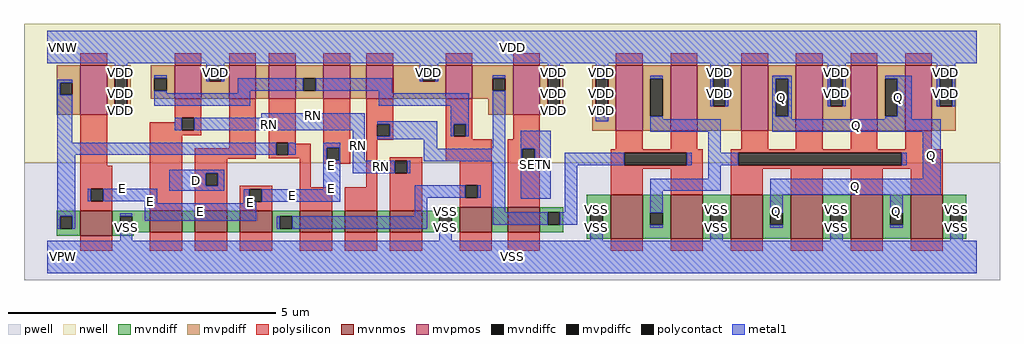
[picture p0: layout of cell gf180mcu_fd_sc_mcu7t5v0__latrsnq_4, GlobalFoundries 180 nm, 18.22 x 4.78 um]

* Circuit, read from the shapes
.subckt gf180mcu_fd_sc_mcu7t5v0__latrsnq_4 D E RN SETN Q VDD VNW VPW VSS
XM1 VSS E n1 VPW nfet_06v0 w=0.465u l=0.6u
XM2 n2 RN VSS VPW nfet_06v0 w=0.395u l=0.6u
XM3 n3 D n2 VPW nfet_06v0 w=0.395u l=0.6u
XM4 n4 E n3 VPW nfet_06v0 w=0.395u l=0.6u
XM5 n5 n1 n4 VPW nfet_06v0 w=0.395u l=0.6u
XM6 n6 n7 n5 VPW nfet_06v0 w=0.395u l=0.6u
XM7 VSS RN n6 VPW nfet_06v0 w=0.395u l=0.6u
XM8 n8 n4 VSS VPW nfet_06v0 w=0.465u l=0.6u
XM9 n7 SETN n8 VPW nfet_06v0 w=0.465u l=0.6u
XM10 n9 n7 VSS VPW nfet_06v0 w=0.82u l=0.6u m=2
XM11 Q n9 VSS VPW nfet_06v0 w=0.82u l=0.6u m=4
XM12 VDD E n1 VNW pfet_06v0 w=0.925u l=0.5u
XM13 VDD RN n4 VNW pfet_06v0 w=0.63u l=0.5u
XM14 n10 D VDD VNW pfet_06v0 w=0.63u l=0.5u
XM15 n4 n1 n10 VNW pfet_06v0 w=0.63u l=0.5u
XM16 n11 E n4 VNW pfet_06v0 w=0.63u l=0.5u
XM17 VDD n7 n11 VNW pfet_06v0 w=0.63u l=0.5u
XM18 n7 n4 VDD VNW pfet_06v0 w=0.63u l=0.5u
XM19 VDD SETN n7 VNW pfet_06v0 w=0.925u l=0.5u
XM20 n9 n7 VDD VNW pfet_06v0 w=1.22u l=0.5u m=2
XM21 Q n9 VDD VNW pfet_06v0 w=1.22u l=0.5u m=4
.ends

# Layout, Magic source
magic
tech gf180mcuD
magscale 1 10
<< nwell >>
rect -86 352 3558 870
<< pwell >>
rect -86 -86 3558 352
<< mvnmos >>
rect 124 79 244 172
rect 384 93 504 172
rect 552 93 672 172
rect 720 93 840 172
rect 944 93 1064 172
rect 1112 93 1232 172
rect 1280 93 1400 172
rect 1540 93 1660 186
rect 1720 93 1840 186
rect 2104 68 2224 232
rect 2328 68 2448 232
rect 2552 68 2672 232
rect 2776 68 2896 232
rect 3000 68 3120 232
rect 3224 68 3344 232
<< mvpmos >>
rect 124 531 224 716
rect 476 590 576 716
rect 680 590 780 716
rect 828 590 928 716
rect 1032 590 1132 716
rect 1192 590 1292 716
rect 1488 590 1588 716
rect 1740 531 1840 716
rect 2124 472 2224 716
rect 2328 472 2428 716
rect 2592 472 2692 716
rect 2796 472 2896 716
rect 3000 472 3100 716
rect 3204 472 3304 716
<< mvndiff >>
rect 1460 172 1540 186
rect 36 152 124 172
rect 36 106 49 152
rect 95 106 124 152
rect 36 79 124 106
rect 244 152 384 172
rect 244 106 273 152
rect 319 106 384 152
rect 244 93 384 106
rect 504 93 552 172
rect 672 93 720 172
rect 840 152 944 172
rect 840 106 869 152
rect 915 106 944 152
rect 840 93 944 106
rect 1064 93 1112 172
rect 1232 93 1280 172
rect 1400 158 1540 172
rect 1400 112 1465 158
rect 1511 112 1540 158
rect 1400 93 1540 112
rect 1660 93 1720 186
rect 1840 167 1928 186
rect 1840 121 1869 167
rect 1915 121 1928 167
rect 1840 93 1928 121
rect 2016 166 2104 232
rect 2016 120 2029 166
rect 2075 120 2104 166
rect 244 79 324 93
rect 2016 68 2104 120
rect 2224 166 2328 232
rect 2224 120 2253 166
rect 2299 120 2328 166
rect 2224 68 2328 120
rect 2448 166 2552 232
rect 2448 120 2477 166
rect 2523 120 2552 166
rect 2448 68 2552 120
rect 2672 166 2776 232
rect 2672 120 2701 166
rect 2747 120 2776 166
rect 2672 68 2776 120
rect 2896 166 3000 232
rect 2896 120 2925 166
rect 2971 120 3000 166
rect 2896 68 3000 120
rect 3120 166 3224 232
rect 3120 120 3149 166
rect 3195 120 3224 166
rect 3120 68 3224 120
rect 3344 166 3432 232
rect 3344 120 3373 166
rect 3419 120 3432 166
rect 3344 68 3432 120
<< mvpdiff >>
rect 36 651 124 716
rect 36 605 49 651
rect 95 605 124 651
rect 36 531 124 605
rect 224 703 312 716
rect 224 563 253 703
rect 299 563 312 703
rect 388 667 476 716
rect 388 621 401 667
rect 447 621 476 667
rect 388 590 476 621
rect 576 703 680 716
rect 576 657 605 703
rect 651 657 680 703
rect 576 590 680 657
rect 780 590 828 716
rect 928 667 1032 716
rect 928 621 957 667
rect 1003 621 1032 667
rect 928 590 1032 621
rect 1132 590 1192 716
rect 1292 703 1488 716
rect 1292 657 1403 703
rect 1449 657 1488 703
rect 1292 590 1488 657
rect 1588 667 1740 716
rect 1588 621 1665 667
rect 1711 621 1740 667
rect 1588 590 1740 621
rect 224 531 312 563
rect 1648 531 1740 590
rect 1840 703 1928 716
rect 1840 563 1869 703
rect 1915 563 1928 703
rect 1840 531 1928 563
rect 2036 665 2124 716
rect 2036 525 2049 665
rect 2095 525 2124 665
rect 2036 472 2124 525
rect 2224 665 2328 716
rect 2224 525 2253 665
rect 2299 525 2328 665
rect 2224 472 2328 525
rect 2428 703 2592 716
rect 2428 563 2487 703
rect 2533 563 2592 703
rect 2428 472 2592 563
rect 2692 665 2796 716
rect 2692 525 2721 665
rect 2767 525 2796 665
rect 2692 472 2796 525
rect 2896 703 3000 716
rect 2896 563 2925 703
rect 2971 563 3000 703
rect 2896 472 3000 563
rect 3100 665 3204 716
rect 3100 525 3129 665
rect 3175 525 3204 665
rect 3100 472 3204 525
rect 3304 703 3392 716
rect 3304 563 3333 703
rect 3379 563 3392 703
rect 3304 472 3392 563
<< mvndiffc >>
rect 49 106 95 152
rect 273 106 319 152
rect 869 106 915 152
rect 1465 112 1511 158
rect 1869 121 1915 167
rect 2029 120 2075 166
rect 2253 120 2299 166
rect 2477 120 2523 166
rect 2701 120 2747 166
rect 2925 120 2971 166
rect 3149 120 3195 166
rect 3373 120 3419 166
<< mvpdiffc >>
rect 49 605 95 651
rect 253 563 299 703
rect 401 621 447 667
rect 605 657 651 703
rect 957 621 1003 667
rect 1403 657 1449 703
rect 1665 621 1711 667
rect 1869 563 1915 703
rect 2049 525 2095 665
rect 2253 525 2299 665
rect 2487 563 2533 703
rect 2721 525 2767 665
rect 2925 563 2971 703
rect 3129 525 3175 665
rect 3333 563 3379 703
<< polysilicon >>
rect 124 716 224 760
rect 476 716 576 760
rect 680 716 780 760
rect 828 716 928 760
rect 1032 716 1132 760
rect 1192 716 1292 760
rect 1488 716 1588 760
rect 1740 716 1840 760
rect 2124 716 2224 760
rect 2328 716 2428 760
rect 2592 716 2692 760
rect 2796 716 2896 760
rect 3000 716 3100 760
rect 3204 716 3304 760
rect 124 340 224 531
rect 476 519 576 590
rect 476 504 503 519
rect 384 473 503 504
rect 549 473 576 519
rect 384 454 576 473
rect 124 255 244 340
rect 124 209 163 255
rect 209 209 244 255
rect 124 172 244 209
rect 384 172 504 454
rect 680 406 780 590
rect 552 366 780 406
rect 828 427 928 590
rect 828 381 855 427
rect 901 423 928 427
rect 901 381 984 423
rect 828 368 984 381
rect 552 312 672 366
rect 552 266 592 312
rect 638 266 672 312
rect 552 172 672 266
rect 720 253 840 266
rect 720 207 755 253
rect 801 207 840 253
rect 720 172 840 207
rect 944 260 984 368
rect 1032 408 1132 590
rect 1032 362 1045 408
rect 1091 362 1132 408
rect 1032 349 1132 362
rect 1192 496 1292 590
rect 1192 450 1233 496
rect 1279 450 1292 496
rect 1192 437 1292 450
rect 1488 496 1588 590
rect 1488 450 1518 496
rect 1564 450 1588 496
rect 1488 440 1588 450
rect 1740 440 1840 531
rect 1192 260 1232 437
rect 944 172 1064 260
rect 1112 172 1232 260
rect 1280 359 1400 372
rect 1280 313 1299 359
rect 1345 313 1400 359
rect 1488 358 1660 440
rect 1280 172 1400 313
rect 1540 267 1660 358
rect 1540 221 1562 267
rect 1608 221 1660 267
rect 1540 186 1660 221
rect 1720 404 1840 440
rect 1720 358 1775 404
rect 1821 358 1840 404
rect 2124 402 2224 472
rect 2328 402 2428 472
rect 2592 402 2692 472
rect 2796 402 2896 472
rect 3000 402 3100 472
rect 3204 402 3304 472
rect 1720 186 1840 358
rect 2104 389 2448 402
rect 2104 343 2155 389
rect 2389 343 2448 389
rect 2104 330 2448 343
rect 2104 232 2224 330
rect 2328 232 2448 330
rect 2552 389 3344 402
rect 2552 343 2581 389
rect 3191 343 3344 389
rect 2552 330 3344 343
rect 2552 232 2672 330
rect 2776 232 2896 330
rect 3000 232 3120 330
rect 3224 232 3344 330
rect 124 24 244 79
rect 384 24 504 93
rect 552 24 672 93
rect 720 24 840 93
rect 944 24 1064 93
rect 1112 24 1232 93
rect 1280 24 1400 93
rect 1540 24 1660 93
rect 1720 24 1840 93
rect 2104 24 2224 68
rect 2328 24 2448 68
rect 2552 24 2672 68
rect 2776 24 2896 68
rect 3000 24 3120 68
rect 3224 24 3344 68
<< polycontact >>
rect 503 473 549 519
rect 163 209 209 255
rect 855 381 901 427
rect 592 266 638 312
rect 755 207 801 253
rect 1045 362 1091 408
rect 1233 450 1279 496
rect 1518 450 1564 496
rect 1299 313 1345 359
rect 1562 221 1608 267
rect 1775 358 1821 404
rect 2155 343 2389 389
rect 2581 343 3191 389
<< metal1 >>
rect 0 724 3472 844
rect 253 703 299 724
rect 38 651 95 662
rect 38 605 49 651
rect 38 427 95 605
rect 594 703 662 724
rect 401 667 447 678
rect 594 657 605 703
rect 651 657 662 703
rect 1392 703 1460 724
rect 401 611 447 621
rect 712 621 957 667
rect 1003 621 1289 667
rect 1392 657 1403 703
rect 1449 657 1460 703
rect 1869 703 1915 724
rect 1665 667 1711 678
rect 712 611 758 621
rect 401 565 758 611
rect 1239 611 1289 621
rect 1239 565 1575 611
rect 253 531 299 563
rect 800 519 1187 536
rect 476 473 503 519
rect 549 473 1187 519
rect 38 381 855 427
rect 901 381 928 427
rect 1032 408 1095 427
rect 38 152 106 381
rect 1032 362 1045 408
rect 1091 362 1095 408
rect 457 312 662 326
rect 457 266 592 312
rect 638 266 662 312
rect 152 209 163 255
rect 209 209 411 255
rect 457 248 662 266
rect 1032 253 1095 362
rect 1141 359 1187 473
rect 1233 496 1456 507
rect 1279 450 1456 496
rect 1507 496 1575 565
rect 1507 450 1518 496
rect 1564 450 1575 496
rect 1233 439 1456 450
rect 1406 404 1456 439
rect 1665 404 1711 621
rect 1869 531 1915 563
rect 2049 665 2095 724
rect 2476 703 2544 724
rect 2049 506 2095 525
rect 2253 665 2299 676
rect 2476 563 2487 703
rect 2533 563 2544 703
rect 2914 703 2982 724
rect 2708 665 2780 676
rect 2253 514 2299 525
rect 2708 525 2721 665
rect 2767 525 2780 665
rect 2914 563 2925 703
rect 2971 563 2982 703
rect 3322 703 3390 724
rect 3129 665 3228 676
rect 2708 514 2780 525
rect 3175 525 3228 665
rect 3322 563 3333 703
rect 3379 563 3390 703
rect 3129 514 3228 525
rect 1141 313 1299 359
rect 1345 313 1356 359
rect 1406 358 1711 404
rect 365 200 411 209
rect 735 207 755 253
rect 801 207 1095 253
rect 1373 221 1562 267
rect 1608 221 1619 267
rect 735 200 781 207
rect 38 106 49 152
rect 95 106 106 152
rect 273 152 319 163
rect 365 136 781 200
rect 1373 152 1419 221
rect 858 106 869 152
rect 915 106 1419 152
rect 1465 158 1511 175
rect 1665 167 1711 358
rect 1768 404 1880 471
rect 2253 468 2515 514
rect 2708 468 3336 514
rect 1768 358 1775 404
rect 1821 358 1880 404
rect 2469 389 2515 468
rect 1768 217 1880 358
rect 1933 343 2155 389
rect 2389 343 2408 389
rect 2469 343 2581 389
rect 3191 343 3210 389
rect 1933 167 1979 343
rect 2469 293 2515 343
rect 3270 293 3336 468
rect 2253 247 2515 293
rect 1665 121 1869 167
rect 1915 121 1979 167
rect 2029 166 2075 177
rect 273 60 319 106
rect 1465 60 1511 112
rect 2029 60 2075 120
rect 2253 166 2299 247
rect 2701 232 3336 293
rect 2253 109 2299 120
rect 2477 166 2523 177
rect 2477 60 2523 120
rect 2701 166 2747 232
rect 2701 109 2747 120
rect 2925 166 2971 177
rect 2925 60 2971 120
rect 3149 166 3195 232
rect 3149 109 3195 120
rect 3373 166 3419 177
rect 3373 60 3419 120
rect 0 -60 3472 60
<< labels >>
flabel metal1 s 800 519 1187 536 0 FreeSans 400 0 0 0 RN
port 3 nsew default input
flabel metal1 s 1768 217 1880 471 0 FreeSans 400 0 0 0 SETN
port 4 nsew default input
flabel metal1 s 3129 514 3228 676 0 FreeSans 400 0 0 0 Q
port 5 nsew default output
flabel metal1 s 457 248 662 326 0 FreeSans 400 0 0 0 D
port 1 nsew default input
flabel metal1 s 3373 175 3419 177 0 FreeSans 400 0 0 0 VSS
port 9 nsew ground bidirectional abutment
flabel metal1 s 0 724 3472 844 0 FreeSans 400 0 0 0 VDD
port 6 nsew power bidirectional abutment
flabel metal1 s 1032 255 1095 427 0 FreeSans 400 0 0 0 E
port 2 nsew clock input
flabel nwell s 10 734 110 834 0 FreeSans 400 0 0 0 VNW
port 7 nsew power bidirectional
flabel pwell s 10 -50 110 50 0 FreeSans 400 0 0 0 VPW
port 8 nsew ground bidirectional
rlabel metal1 s 1032 253 1095 255 1 E
port 2 nsew clock input
rlabel metal1 s 152 253 411 255 1 E
port 2 nsew clock input
rlabel metal1 s 735 209 1095 253 1 E
port 2 nsew clock input
rlabel metal1 s 152 209 411 253 1 E
port 2 nsew clock input
rlabel metal1 s 735 207 1095 209 1 E
port 2 nsew clock input
rlabel metal1 s 365 207 411 209 1 E
port 2 nsew clock input
rlabel metal1 s 735 200 781 207 1 E
port 2 nsew clock input
rlabel metal1 s 365 200 411 207 1 E
port 2 nsew clock input
rlabel metal1 s 365 136 781 200 1 E
port 2 nsew clock input
rlabel metal1 s 476 473 1187 519 1 RN
port 3 nsew default input
rlabel metal1 s 1141 359 1187 473 1 RN
port 3 nsew default input
rlabel metal1 s 1141 313 1356 359 1 RN
port 3 nsew default input
rlabel metal1 s 2708 514 2780 676 1 Q
port 5 nsew default output
rlabel metal1 s 2708 468 3336 514 1 Q
port 5 nsew default output
rlabel metal1 s 3270 293 3336 468 1 Q
port 5 nsew default output
rlabel metal1 s 2701 232 3336 293 1 Q
port 5 nsew default output
rlabel metal1 s 3149 109 3195 232 1 Q
port 5 nsew default output
rlabel metal1 s 2701 109 2747 232 1 Q
port 5 nsew default output
rlabel metal1 s 3322 657 3390 724 1 VDD
port 6 nsew power bidirectional abutment
rlabel metal1 s 2914 657 2982 724 1 VDD
port 6 nsew power bidirectional abutment
rlabel metal1 s 2476 657 2544 724 1 VDD
port 6 nsew power bidirectional abutment
rlabel metal1 s 2049 657 2095 724 1 VDD
port 6 nsew power bidirectional abutment
rlabel metal1 s 1869 657 1915 724 1 VDD
port 6 nsew power bidirectional abutment
rlabel metal1 s 1392 657 1460 724 1 VDD
port 6 nsew power bidirectional abutment
rlabel metal1 s 594 657 662 724 1 VDD
port 6 nsew power bidirectional abutment
rlabel metal1 s 253 657 299 724 1 VDD
port 6 nsew power bidirectional abutment
rlabel metal1 s 3322 563 3390 657 1 VDD
port 6 nsew power bidirectional abutment
rlabel metal1 s 2914 563 2982 657 1 VDD
port 6 nsew power bidirectional abutment
rlabel metal1 s 2476 563 2544 657 1 VDD
port 6 nsew power bidirectional abutment
rlabel metal1 s 2049 563 2095 657 1 VDD
port 6 nsew power bidirectional abutment
rlabel metal1 s 1869 563 1915 657 1 VDD
port 6 nsew power bidirectional abutment
rlabel metal1 s 253 563 299 657 1 VDD
port 6 nsew power bidirectional abutment
rlabel metal1 s 2049 531 2095 563 1 VDD
port 6 nsew power bidirectional abutment
rlabel metal1 s 1869 531 1915 563 1 VDD
port 6 nsew power bidirectional abutment
rlabel metal1 s 253 531 299 563 1 VDD
port 6 nsew power bidirectional abutment
rlabel metal1 s 2049 506 2095 531 1 VDD
port 6 nsew power bidirectional abutment
rlabel metal1 s 2925 175 2971 177 1 VSS
port 9 nsew ground bidirectional abutment
rlabel metal1 s 2477 175 2523 177 1 VSS
port 9 nsew ground bidirectional abutment
rlabel metal1 s 2029 175 2075 177 1 VSS
port 9 nsew ground bidirectional abutment
rlabel metal1 s 3373 163 3419 175 1 VSS
port 9 nsew ground bidirectional abutment
rlabel metal1 s 2925 163 2971 175 1 VSS
port 9 nsew ground bidirectional abutment
rlabel metal1 s 2477 163 2523 175 1 VSS
port 9 nsew ground bidirectional abutment
rlabel metal1 s 2029 163 2075 175 1 VSS
port 9 nsew ground bidirectional abutment
rlabel metal1 s 1465 163 1511 175 1 VSS
port 9 nsew ground bidirectional abutment
rlabel metal1 s 3373 60 3419 163 1 VSS
port 9 nsew ground bidirectional abutment
rlabel metal1 s 2925 60 2971 163 1 VSS
port 9 nsew ground bidirectional abutment
rlabel metal1 s 2477 60 2523 163 1 VSS
port 9 nsew ground bidirectional abutment
rlabel metal1 s 2029 60 2075 163 1 VSS
port 9 nsew ground bidirectional abutment
rlabel metal1 s 1465 60 1511 163 1 VSS
port 9 nsew ground bidirectional abutment
rlabel metal1 s 273 60 319 163 1 VSS
port 9 nsew ground bidirectional abutment
rlabel metal1 s 0 -60 3472 60 1 VSS
port 9 nsew ground bidirectional abutment
<< properties >>
string FIXED_BBOX 0 0 3472 784
string GDS_END 640976
string GDS_FILE $PDKPATH/libs.ref/gf180mcu_fd_sc_mcu7t5v0/gds/gf180mcu_fd_sc_mcu7t5v0.gds
string GDS_START 632480
string LEFclass core
string LEFsite GF018hv5v_mcu_sc7
string LEFsymmetry X Y
<< end >>
